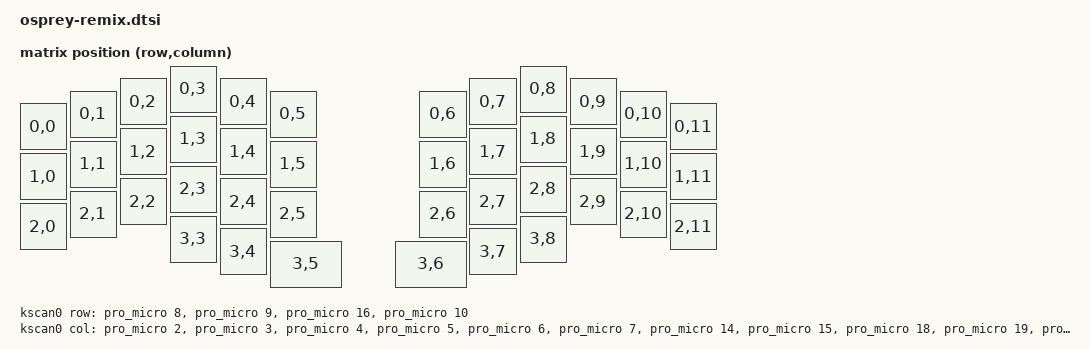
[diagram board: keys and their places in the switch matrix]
/*
 * Copyright (c) 2020 Pete Johanson
 *
 * SPDX-License-Identifier: MIT
 */

#include <dt-bindings/zmk/matrix_transform.h>
#include <physical_layouts.dtsi>

/ {
    osprey_remix_layout: osprey_remix_layout {
        compatible = "zmk,physical-layout";
        display-name = "Osprey";

         keys  //                     w   h    x    y     rot    rx    ry
            = <&key_physical_attrs 100 100    0   75       0     0     0>
            , <&key_physical_attrs 100 100  100   50       0     0     0>
            , <&key_physical_attrs 100 100  200   25       0     0     0>
            , <&key_physical_attrs 100 100  300    0       0     0     0>
            , <&key_physical_attrs 100 100  400   25       0     0     0>
            , <&key_physical_attrs 100 100  500   50       0     0     0>
            , <&key_physical_attrs 100 100  800   50       0     0     0>
            , <&key_physical_attrs 100 100  900   25       0     0     0>
            , <&key_physical_attrs 100 100 1000    0       0     0     0>
            , <&key_physical_attrs 100 100 1100   25       0     0     0>
            , <&key_physical_attrs 100 100 1200   50       0     0     0>
            , <&key_physical_attrs 100 100 1300   75       0     0     0>
            , <&key_physical_attrs 100 100    0  175       0     0     0>
            , <&key_physical_attrs 100 100  100  150       0     0     0>
            , <&key_physical_attrs 100 100  200  125       0     0     0>
            , <&key_physical_attrs 100 100  300  100       0     0     0>
            , <&key_physical_attrs 100 100  400  125       0     0     0>
            , <&key_physical_attrs 100 100  500  150       0     0     0>
            , <&key_physical_attrs 100 100  800  150       0     0     0>
            , <&key_physical_attrs 100 100  900  125       0     0     0>
            , <&key_physical_attrs 100 100 1000  100       0     0     0>
            , <&key_physical_attrs 100 100 1100  125       0     0     0>
            , <&key_physical_attrs 100 100 1200  150       0     0     0>
            , <&key_physical_attrs 100 100 1300  175       0     0     0>
            , <&key_physical_attrs 100 100    0  275       0     0     0>
            , <&key_physical_attrs 100 100  100  250       0     0     0>
            , <&key_physical_attrs 100 100  200  225       0     0     0>
            , <&key_physical_attrs 100 100  300  200       0     0     0>
            , <&key_physical_attrs 100 100  400  225       0     0     0>
            , <&key_physical_attrs 100 100  500  250       0     0     0>
            , <&key_physical_attrs 100 100  800  250       0     0     0>
            , <&key_physical_attrs 100 100  900  225       0     0     0>
            , <&key_physical_attrs 100 100 1000  200       0     0     0>
            , <&key_physical_attrs 100 100 1100  225       0     0     0>
            , <&key_physical_attrs 100 100 1200  250       0     0     0>
            , <&key_physical_attrs 100 100 1300  275       0     0     0>
            , <&key_physical_attrs 100 100  300  300       0     0     0>
            , <&key_physical_attrs 100 100  400  325       0     0     0>
            , <&key_physical_attrs 150 100  500  350       0     0     0>
            , <&key_physical_attrs 150 100  750  350       0     0     0>
            , <&key_physical_attrs 100 100  900  325       0     0     0>
            , <&key_physical_attrs 100 100 1000  300       0     0     0>
            ;
    };

    osprey_remix_position_map {
        compatible = "zmk,physical-layout-position-map";

        complete;

        twelve {
            physical-layout = <&osprey_remix_layout>;
            positions
                = < 0  1  2  3  4  5  6  7  8  9 10 11>
                , <12 13 14 15 16 17 18 19 20 21 22 23>
                , <24 25 26 27 28 29 30 31 32 33 34 35>
                , <         36 37 38 39 40 41         >;
        };

    };
};

&osprey_remix_layout {
    transform = <&default_transform>;
};


/ {
    chosen {
        zmk,kscan = &kscan0;
        zmk,physical-layout = &osprey_remix_layout;
    };

    default_transform: keymap_transform_0 {
        compatible = "zmk,matrix-transform";
        columns = <12>;
        rows = <4>;
// | SW1  | SW2  | SW3  | SW4  | SW5  | SW6  |   | SW6  | SW5  | SW4  | SW3  | SW2  | SW1  |
// | SW7  | SW8  | SW9  | SW10 | SW11 | SW12 |   | SW12 | SW11 | SW10 | SW9  | SW8  | SW7  |
// | SW13 | SW14 | SW15 | SW16 | SW17 | SW18 |   | SW18 | SW17 | SW16 | SW15 | SW14 | SW13 |
//                      | SW19 | SW20 | SW21 |   | SW21 | SW20 | SW19 |
        map = <
RC(0,0) RC(0,1) RC(0,2) RC(0,3) RC(0,4) RC(0,5)  RC(0,6) RC(0,7) RC(0,8) RC(0,9) RC(0,10) RC(0,11)
RC(1,0) RC(1,1) RC(1,2) RC(1,3) RC(1,4) RC(1,5)  RC(1,6) RC(1,7) RC(1,8) RC(1,9) RC(1,10) RC(1,11)
RC(2,0) RC(2,1) RC(2,2) RC(2,3) RC(2,4) RC(2,5)  RC(2,6) RC(2,7) RC(2,8) RC(2,9) RC(2,10) RC(2,11)
                        RC(3,3) RC(3,4) RC(3,5)  RC(3,6) RC(3,7) RC(3,8)
        >;
    };

   kscan0: kscan_0 {
        compatible = "zmk,kscan-gpio-matrix";
        wakeup-source;
        label = "KSCAN";
        diode-direction = "col2row";

        col-gpios
            = <&pro_micro 2 GPIO_ACTIVE_HIGH>
            , <&pro_micro 3 GPIO_ACTIVE_HIGH>
            , <&pro_micro 4 GPIO_ACTIVE_HIGH>
            , <&pro_micro 5 GPIO_ACTIVE_HIGH>
            , <&pro_micro 6 GPIO_ACTIVE_HIGH>
            , <&pro_micro 7 GPIO_ACTIVE_HIGH>
            , <&pro_micro 14 GPIO_ACTIVE_HIGH>
            , <&pro_micro 15 GPIO_ACTIVE_HIGH>
            , <&pro_micro 18 GPIO_ACTIVE_HIGH>
            , <&pro_micro 19 GPIO_ACTIVE_HIGH>
            , <&pro_micro 20 GPIO_ACTIVE_HIGH>
            , <&pro_micro 21 GPIO_ACTIVE_HIGH>
            ;

        row-gpios
            = <&pro_micro 8 (GPIO_ACTIVE_HIGH | GPIO_PULL_DOWN)>
            , <&pro_micro 9 (GPIO_ACTIVE_HIGH | GPIO_PULL_DOWN)>
            , <&pro_micro 16 (GPIO_ACTIVE_HIGH | GPIO_PULL_DOWN)>
            , <&pro_micro 10 (GPIO_ACTIVE_HIGH | GPIO_PULL_DOWN)>
            ;
    };

};

